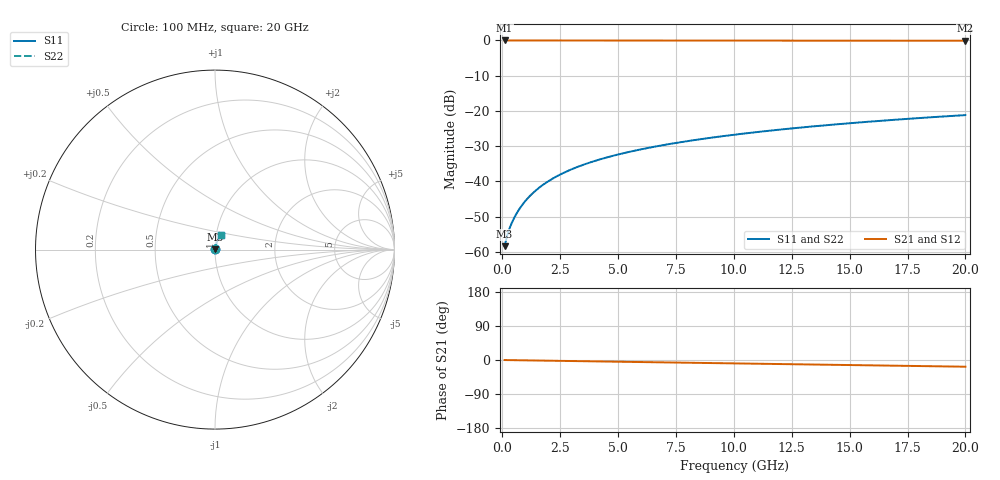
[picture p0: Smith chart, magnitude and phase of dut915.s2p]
! Touchstone file exported from HFSS 2026.1.0
!  File:  C:/ffzhzh/LocalFiles/Ansys_Project_Files/temp_train_BSMRDL_915_1783171666_18472.aedt
!  Generated:  09:28:58 PM Jul  4, 2026
!  Design:  BSMRDL
!  Project:  temp_train_BSMRDL_915_1783171666_18472
! Variables:
!  h_bsmrdl = 4.61um
!  h_ox = 20um
!  h_rdl = 5um
!  h_sub = 80um
!  h_tmrdl = 5um
!  h_tsv = 80um
!  h_via = 3um
!  l_bsmrdl = 281.65um
!  l_sub = 681.65um
!  l_tmrdl = 200um
!  m_sub = 200um
!  pitch = 38.55um
!  r_tsv = 6um
!  s_tmrdl = 10um
!  w_bsmrdl = 27.3um
!  w_sub = 500um
!  w_tmrdl = 12um
!  x_tsv_center1 = 206um
!  x_tsv_center2 = 514.95um
!  x_tsv_center3 = 726.95um
!  x_tsv_center4 = 1035.9um
!  x_tsv_center5 = 1247.9um
!  x_tsv_center6 = 1556.85um
# GHz S MA R 50.000000
! Terminal data exported
! Port[1] = BSM_RDL1_1_T1
! Port[2] = BSM_RDL1_1_T2
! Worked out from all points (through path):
!   200 points, 100 MHz to 20 GHz, reference 50 ohm
!   highest |S21| = -0.01 dB at 100 MHz (marker M1); lowest = -0.1 dB at 20 GHz (marker M2)
!   group delay of S21, straight-line fit = 2.45 ps
!   lowest |S11| = -58.4 dB at 100 MHz (marker M3), VSWR 1.00, Z = 50.1 + j0.0657 ohm
!   |S11| at or under -10 dB: start of sweep to end of sweep
!   |S22| runs from -58.4 to -21.2 dB; largest |S21 - S12| = 3.3e-15
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0.1  0.001209 32.9  0.999 -0.1  0.999 -0.1  0.001209 32.9
! Gamma 0 0 0 0
! Port Impedance 50 0 50 0
0.2  0.001661 46.8  0.9989 -0.2  0.9989 -0.2  0.001661 46.8
0.3  0.002104 54.2  0.9988 -0.3  0.9988 -0.3  0.002104 54.2
0.4  0.00254 59.4  0.9987 -0.4  0.9987 -0.4  0.00254 59.4
0.5  0.002982 63.3  0.9987 -0.5  0.9987 -0.5  0.002982 63.3
0.6  0.003433 66.3  0.9986 -0.6  0.9986 -0.6  0.003434 66.3
0.8  0.00436 70.5  0.9986 -0.7  0.9986 -0.7  0.00436 70.5
1  0.005308 73.3  0.9985 -0.9  0.9985 -0.9  0.005308 73.3
1.2  0.006269 75.1  0.9985 -1.1  0.9985 -1.1  0.006269 75.1
1.4  0.007235 76.4  0.9984 -1.3  0.9984 -1.3  0.007235 76.4
1.7  0.008688 77.6  0.9983 -1.6  0.9983 -1.6  0.008688 77.6
2.2  0.0111 78.7  0.9981 -2.0  0.9981 -2.0  0.0111 78.7
2.8  0.01397 79.2  0.9979 -2.6  0.9979 -2.6  0.01397 79.2
3.5  0.01726 79.2  0.9976 -3.2  0.9976 -3.2  0.01726 79.2
4.2  0.02049 79.0  0.9972 -3.8  0.9972 -3.8  0.02049 79.0
5  0.02412 78.6  0.9968 -4.5  0.9968 -4.5  0.02412 78.6
6.8  0.03211 77.6  0.996 -6.1  0.996 -6.1  0.03211 77.6
8.3  0.03864 76.7  0.9953 -7.5  0.9953 -7.5  0.03864 76.7
10.1  0.04637 75.5  0.9945 -9.0  0.9945 -9.0  0.04637 75.5
13.4  0.06031 73.2  0.993 -11.9  0.993 -11.9  0.06032 73.2
16.7  0.07398 70.7  0.9915 -14.8  0.9915 -14.8  0.07398 70.7
20  0.08734 68.2  0.9899 -17.7  0.9899 -17.7  0.08734 68.2
